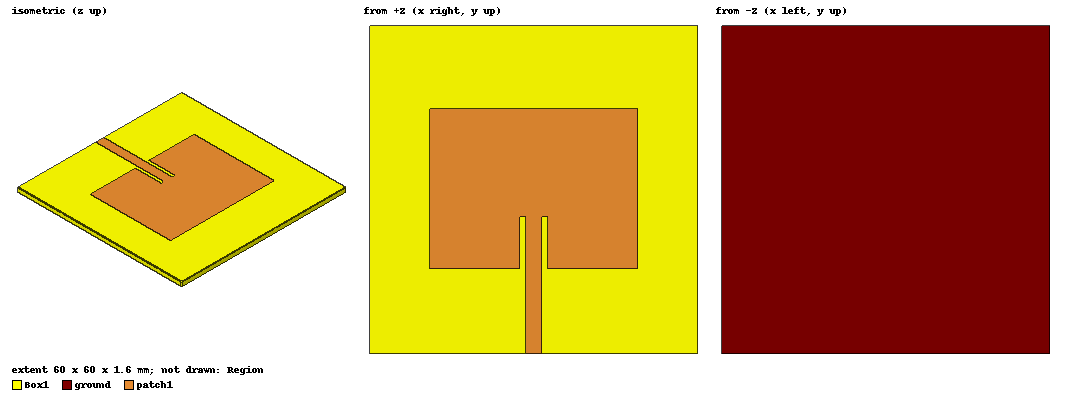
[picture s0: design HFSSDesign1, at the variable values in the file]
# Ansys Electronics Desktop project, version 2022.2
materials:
  vacuum: permittivity=1
  FR4_epoxy: permittivity=4.4 dielectric_loss_tangent=0.02
  air: permittivity=1.0006 permeability=1.0000004

design HFSSDesign1 (HFSS, DrivenModal, model units mm)
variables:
  L = 100mm
  B = 70mm
  l1 = 38mm
  l2 = 38mm
  w1 = 29.4mm
  lf2 = (lambda-w1-w2)*0.5
  w2 = 29.4mm
  lf3 = (lambda-w2-w3)*0.5
  l3 = 38mm
  w3 = 29.4mm
  lf4 = (lambda-w3-w4)*0.5
  l4 = 38mm
  w4 = 29.4mm
  lf1 = 25mm
  h = 1.6mm
  lambda = 125mm
  sl = 60mm
  sb = 60mm
  wf = 3mm
  c1 = 5mm
  c2 = 19mm
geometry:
  patch1 = rectangle(corner=(-l1/2, -w1/2, 0mm), x_size=l1, y_size=w1)
  coordinate_system RelativeCS1 = origin=(0mm, w1/2, 0mm) x=(1mm, 0mm, 0mm) y=(0mm, 1mm, 0mm)
  coordinate_system RelativeCS2 = origin=(0mm, lf2, 0mm) x=(1mm, 0mm, 0mm) y=(0mm, 1mm, 0mm) in RelativeCS1
  coordinate_system RelativeCS3 = origin=(0mm, w2, 0mm) x=(1mm, 0mm, 0mm) y=(0mm, 1mm, 0mm) in RelativeCS2
  coordinate_system RelativeCS4 = origin=(0mm, lf3, 0mm) x=(1mm, 0mm, 0mm) y=(0mm, 1mm, 0mm) in RelativeCS3
  coordinate_system RelativeCS5 = origin=(0mm, w3, 0mm) x=(1mm, 0mm, 0mm) y=(0mm, 1mm, 0mm) in RelativeCS4
  coordinate_system RelativeCS6 = origin=(0mm, lf4, 0mm) x=(1mm, 0mm, 0mm) y=(0mm, 1mm, 0mm) in RelativeCS5
  coordinate_system RelativeCS9 = origin=(0mm, -w1/2, 0mm) x=(1mm, 0mm, 0mm) y=(0mm, 1mm, 0mm)
  coordinate_system RelativeCS7 = origin=(0mm, c2/2, 0mm) x=(1mm, 0mm, 0mm) y=(0mm, 1mm, 0mm) in RelativeCS9
  feed1 = rectangle(corner=(-wf/2, 0mm, 0mm), x_size=wf, y_size=-lf1) in RelativeCS7
  coordinate_system RelativeCS8 = origin=(0mm, -lf1, 0mm) x=(1mm, 0mm, 0mm) y=(0mm, 1mm, 0mm) in RelativeCS7
  Box1 [FR4_epoxy] = box(corner=(-sl/2, 0mm, 0mm), size=(sl, sb, -h)) in RelativeCS8
  ground [oriented by RelativeCS8] = rectangle(corner=(sl/2, 0mm, -h), x_size=-sl, y_size=sb) in RelativeCS8
  source = rectangle(corner=(-wf/2, 0mm, 0mm), z_size=-h, x_size=wf) in RelativeCS8
  Region [air] = region(transverse_percentage_offset=lambda/4 on all sides) in RelativeCS8
  Rectangle2 = rectangle(corner=(-c1/2, -c2/2, 0mm), x_size=c1, y_size=c2) in RelativeCS9
  patch1.subtract(Rectangle2)
  patch1.unite(feed1)
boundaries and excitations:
  PerfE1: Perfect E Objects=ground
  Rad1: Radiation Objects=Region
  PerfE2: Perfect E Objects=patch1
  1: Lumped Port Objects=source Modes{Mode1{IntLine{(0, -30.2, -1.6) -> (0, -30.2, 0)} CharImp=Zpi RenormImp=50ohm}} Impedance=50ohm
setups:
  Setup1: HfssDriven Frequency=2.4GHz MaxDeltaS=0.02 MaximumPasses=20 MinimumPasses=1 MinimumConvergedPasses=1 PercentRefinement=30 BasisOrder=1 PortAccuracy=2 DrivenSolverType="Direct Solver"
    sweep Sweep: 1GHz to 3.6GHz, 401 points; Type=Fast SaveFields
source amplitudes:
  1:1: 1W 0deg
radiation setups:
  Infinite Sphere1: Infinite Sphere Theta=0deg..180deg step 2deg Phi=-180deg..180deg step 2deg
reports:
  S Parameter Plot 1: dB(S(1,1)) vs Freq on Setup1 : Sweep
  Gain Plot 1: dB(GainTotal) vs Phi, Theta on Setup1 : LastAdaptive, Infinite Sphere1 [Freq=2.4GHz]
